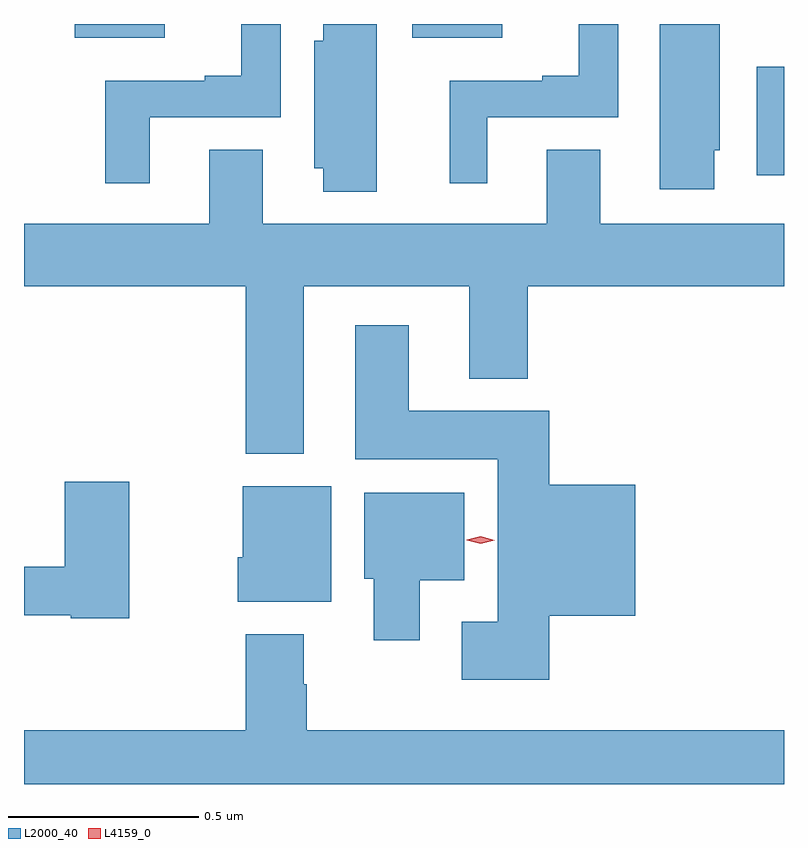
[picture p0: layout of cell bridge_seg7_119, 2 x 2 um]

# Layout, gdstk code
import gdstk
lib = gdstk.Library(unit=1e-6, precision=1e-09)
def R(c, l, rs):  # rectangles x0, y0, x1, y1
    for r in rs: c.add(gdstk.rectangle(r[:2], r[2:], *l))
def P(c, l, *ps):  # polygons
    for p in ps: c.add(gdstk.Polygon(p, *l))
L2000_40 = (2000, 40)
L4159_0 = (4159, 0)

bridge_seg7_119 = lib.new_cell('bridge_seg7_119')
R(bridge_seg7_119, L2000_40, [(755.675,1010.232,755.747,1010.518), (753.881,1010.594,754.117,1010.63), (754.769,1010.594,755.005,1010.63)])
P(bridge_seg7_119, L2000_40, [(754.966,1010.385),(755.311,1010.385),(755.311,1010.63),(755.207,1010.63),(755.207,1010.494),(755.111,1010.494),(755.111,1010.481),(754.868,1010.481),(754.868,1010.211),(754.966,1010.211)],
  [(754.675,1010.63),(754.535,1010.63),(754.535,1010.586),(754.511,1010.586),(754.511,1010.25),(754.535,1010.25),(754.535,1010.189),(754.675,1010.189)],
  [(754.078,1010.385),(754.423,1010.385),(754.423,1010.63),(754.319,1010.63),(754.319,1010.494),(754.223,1010.494),(754.223,1010.481),(753.961,1010.481),(753.961,1010.211),(754.078,1010.211)],
  [(755.563,1010.298),(755.578,1010.298),(755.578,1010.63),(755.42,1010.63),(755.42,1010.195),(755.563,1010.195)],
  [(754.483,1009.94),(754.919,1009.94),(754.919,1009.697),(755.072,1009.697),(755.072,1009.94),(755.747,1009.94),(755.747,1010.104),(755.263,1010.104),(755.263,1010.299),(755.123,1010.299),(755.123,1010.104),(754.375,1010.104),(754.375,1010.299),(754.235,1010.299),(754.235,1010.104),(753.747,1010.104),(753.747,1009.94),(754.331,1009.94),(754.331,1009.499),(754.483,1009.499)],
  [(755.129,1009.073),(755.356,1009.073),(755.356,1009.417),(755.129,1009.417),(755.129,1009.612),(754.759,1009.612),(754.759,1009.837),(754.619,1009.837),(754.619,1009.484),(754.994,1009.484),(754.994,1009.057),(754.899,1009.057),(754.899,1008.905),(755.129,1008.905)],
  [(754.024,1009.426),(753.854,1009.426),(753.854,1009.202),(753.747,1009.202),(753.747,1009.074),(753.87,1009.074),(753.87,1009.066),(754.024,1009.066)],
  [(754.555,1009.414),(754.322,1009.414),(754.322,1009.227),(754.31,1009.227),(754.31,1009.109),(754.555,1009.109)],
  [(754.789,1009.166),(754.906,1009.166),(754.906,1009.396),(754.643,1009.396),(754.643,1009.17),(754.667,1009.17),(754.667,1009.008),(754.789,1009.008)],
  [(755.747,1008.772),(754.491,1008.772),(754.491,1008.893),(754.483,1008.893),(754.483,1009.024),(754.331,1009.024),(754.331,1008.772),(753.747,1008.772),(753.747,1008.63),(755.747,1008.63)])
P(bridge_seg7_119, L4159_0, [(754.949,1009.262),(754.912,1009.272),(754.912,1009.273),(754.912,1009.273),(754.949,1009.282),(754.986,1009.271),(754.986,1009.271),(754.986,1009.271)])

lib.write_gds('bridge_seg7_119.gds')
